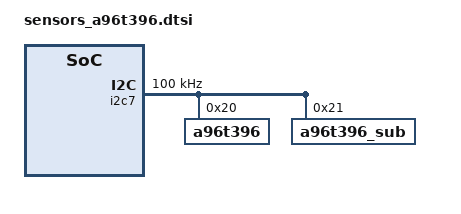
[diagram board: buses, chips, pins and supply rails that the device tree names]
#if 1

&pio {
	grip_i2c_sda: grip-i2c-sda {
		GPIO_CONFIG_PUD_DRV(AP,pio,112, FUNC_INPUT, PULL_UP, DRV_LV1);
	};
	grip_i2c_scl: grip-i2c-scl {
		GPIO_CONFIG_PUD_DRV(AP,pio,111, FUNC_INPUT, PULL_UP, DRV_LV1);
	};
};

&pio {
	grip_int: grip-int {
		GPIO_CONFIG_PUD_DRV(AP,pio,17, FUNC_INPUT_WAKEUP, PULL_NONE, DRV_LV1);
	};
};

&i2c7 {
	gpios = <SEC_GPIO_REF(AP,pio,112) 0 /* sda */
			SEC_GPIO_REF(AP,pio,111) 0>; /* scl */
	pinctrl-0 = <&grip_i2c_sda
				 &grip_i2c_scl
				 >;
	#address-cells = <1>;
	#size-cells = <0>;
	status = "okay";
	clock-frequency = <100000>;
	a96t396: a96t396@20 {
		compatible = "a96t396";
		reg = <0x20>;

		pinctrl-names = "default";
		pinctrl-0 = <&grip_int>;

		interrupt-parent = <SEC_GPIO_TYPE(AP,pio,17)>;
		interrupts = <SEC_GPIO_NUM(AP,pio,17) 0>;

		irq_gpio = <SEC_GPIO_REF(AP,pio,17) 0>;
#if 0
		dvdd_vreg_name = "VDD_GRIP_3P3";
#else
#if 1
		ldo_en = <SEC_GPIO_REF(AP,pio,139) 0>;
#endif
#endif
		multi_use = <1>;
#if 1
		unknown_ch_selection = <3>; /*bit "0 0" => no use , "0 1" => 1ch only, "1 0" => 2ch only, "1 1" 1ch 2ch both*/
#endif
#if 0
		fail_safe_concept = <${a96t396_fail_safe_concept}>;
#endif
		fw_path = "abov/a96t396_a13x_eur_main.bin";
		firmup_cmd = <0x90>;
	};
};
#endif

/* ---- SUB GRIP---- */
#if 1

&pio {
	grip_sub_i2c_sda: grip-sub-i2c-sda {
		GPIO_CONFIG_PUD_DRV(AP,pio,112, FUNC_INPUT, PULL_UP, DRV_LV1);
	};
	grip_sub_i2c_scl: grip-sub-i2c-scl {
		GPIO_CONFIG_PUD_DRV(AP,pio,111, FUNC_INPUT, PULL_UP, DRV_LV1);
	};
};

&pio {
	grip_sub_int: grip-sub-int {
		GPIO_CONFIG_PUD_DRV(AP,pio,18, FUNC_INPUT_WAKEUP, PULL_NONE, DRV_LV1);
	};
};

&i2c7 {
	gpios = <SEC_GPIO_REF(AP,pio,112) 0 /* sda */
			SEC_GPIO_REF(AP,pio,111) 0>; /* scl */
	pinctrl-0 = <&grip_sub_i2c_sda
				 &grip_sub_i2c_scl
				>;
	#address-cells = <1>;
	#size-cells = <0>;
	status = "okay";
	clock-frequency = <100000>;
	a96t396_sub: a96t396_sub@21 {

		compatible = "a96t396_sub";
		reg = <0x21>;

		pinctrl-names = "default";
		pinctrl-0 = <&grip_sub_int>;

		interrupt-parent = <SEC_GPIO_TYPE(AP,pio,18)>;
		interrupts = <SEC_GPIO_NUM(AP,pio,18) 0>;

		irq_gpio = <SEC_GPIO_REF(AP,pio,18) 0>;
#if 0
		dvdd_vreg_name = "VDD_GRIP_3P3";
#else
#if 0
		ldo_en = <SEC_GPIO_REF(${gpio_grip_sub_ldo_en}) 0>;
#else
		ldo_en = <SEC_GPIO_REF(AP,pio,139) 0>;
#endif
#endif
		multi_use = <0>;
#if 1
		unknown_ch_selection = <3>; /*bit "0 0" => no use , "0 1" => 1ch only, "1 0" => 2ch only, "1 1" 1ch 2ch both*/
#endif
#if 0
		fail_safe_concept = <${a96t396_sub_fail_safe_concept}>;
#endif
		fw_path = "abov/a96t396_a13x_eur_sub.bin";
		firmup_cmd = <0x90>;
	};
};
#endif

/* ---- SUB2 GRIP---- */
#if 0
&${gpio_grip_sub2_i2c_parent} {
	grip_sub2_i2c_sda: grip-sub2-i2c-sda {
		GPIO_CONFIG_PUD_DRV(${gpio_grip_sub2_i2c_sda}, FUNC_INPUT, PULL_UP, DRV_LV1);
	};
	grip_sub2_i2c_scl: grip-sub2-i2c-scl {
		GPIO_CONFIG_PUD_DRV(${gpio_grip_sub2_i2c_scl}, FUNC_INPUT, PULL_UP, DRV_LV1);
	};
};

&${gpio_grip_sub2_irq_parent} {
	grip_sub2_int: grip-sub2-int {
		GPIO_CONFIG_PUD_DRV(${gpio_grip_sub2_irq}, FUNC_INPUT_WAKEUP, PULL_NONE, DRV_LV1);
	};
};

&${i2c_grip_sub2} {
	gpios = <SEC_GPIO_REF(${gpio_grip_sub2_i2c_sda}) 0 /* sda */
			SEC_GPIO_REF(${gpio_grip_sub2_i2c_scl}) 0>; /* scl */
	pinctrl-0 = <&grip_sub2_i2c_sda
				 &grip_sub2_i2c_scl
				>;
	#address-cells = <1>;
	#size-cells = <0>;
	status = "okay";
	clock-frequency = <100000>;
	a96t396_sub2: a96t396_sub2@${a96t396_sub2_address} {

		compatible = "a96t396_sub2";
		reg = <0x${a96t396_sub2_address}>;

		pinctrl-names = "default";
		pinctrl-0 = <&grip_sub2_int>;

		interrupt-parent = <SEC_GPIO_TYPE(${gpio_grip_sub2_irq})>;
		interrupts = <SEC_GPIO_NUM(${gpio_grip_sub2_irq}) 0>;

		irq_gpio = <SEC_GPIO_REF(${gpio_grip_sub2_irq}) 0>;
#if 0
		dvdd_vreg_name = "VDD_GRIP_3P3";
#else
#if 0
		ldo_en = <SEC_GPIO_REF(${gpio_grip_sub2_ldo_en}) 0>;
#else
		ldo_en = <SEC_GPIO_REF(AP,pio,139) 0>;
#endif
#endif
		multi_use = <${sub2_multi_use}>;
#if 0
		unknown_ch_selection = <${a96t396_sub2_unknown_ch_sel}>; /*bit "0 0" => no use , "0 1" => 1ch only, "1 0" => 2ch only, "1 1" 1ch 2ch both*/
#endif
#if 0
		fail_safe_concept = <${a96t396_sub2_fail_safe_concept}>;
#endif
		fw_path = "abov/a96t396_a13x_eur_sub2.bin";
		firmup_cmd = <0x90>;
	};
};
#endif

/* ---- WIFI GRIP---- */
#if 0

&${gpio_grip_wifi_i2c_parent} {
	grip_wifi_i2c_sda: grip-wifi-i2c-sda {
		GPIO_CONFIG_PUD_DRV(${gpio_grip_wifi_i2c_sda}, FUNC_INPUT, PULL_UP, DRV_LV1);
	};
	grip_wifi_i2c_scl: grip-wifi-i2c-scl {
		GPIO_CONFIG_PUD_DRV(${gpio_grip_wifi_i2c_scl}, FUNC_INPUT, PULL_UP, DRV_LV1);
	};
};

&${gpio_grip_wifi_irq_parent} {
	grip_wifi_int: grip-wifi-int {
		GPIO_CONFIG_PUD_DRV(${gpio_grip_wifi_irq}, FUNC_INPUT_WAKEUP, PULL_NONE, DRV_LV1);
	};
};

&${i2c_grip_wifi} {
	gpios = <SEC_GPIO_REF(${gpio_grip_wifi_i2c_sda}) 0 /* sda */
			SEC_GPIO_REF(${gpio_grip_wifi_i2c_scl}) 0>; /* scl */
	pinctrl-0 = <&grip_wifi_i2c_sda
				 &grip_wifi_i2c_scl
				>;
	#address-cells = <1>;
	#size-cells = <0>;
	status = "okay";
	clock-frequency = <100000>;
	a96t396_wifi: a96t396_wifi@${a96t396_wifi_address} {

		compatible = "a96t396_wifi";
		reg = <0x${a96t396_wifi_address}>;

		pinctrl-names = "default";
		pinctrl-0 = <&grip_wifi_int>;

		interrupt-parent = <SEC_GPIO_TYPE(${gpio_grip_wifi_irq})>;
		interrupts = <SEC_GPIO_NUM(${gpio_grip_wifi_irq}) 0>;

		irq_gpio = <SEC_GPIO_REF(${gpio_grip_wifi_irq}) 0>;
#if 0
		dvdd_vreg_name = "VDD_GRIP_3P3";
#else
#if 0
		ldo_en = <SEC_GPIO_REF(${gpio_grip_wifi_ldo_en}) 0>;
#else
		ldo_en = <SEC_GPIO_REF(AP,pio,139) 0>;
#endif
#endif
		multi_use = <0>;
#if 0
		unknown_ch_selection = <${a96t396_wifi_unknown_ch_sel}>; /*bit "0 0" => no use , "0 1" => 1ch only, "1 0" => 2ch only, "1 1" 1ch 2ch both*/
#endif
#if 0
		fail_safe_concept = <${a96t396_wifi_fail_safe_concept}>;
#endif
		fw_path = "abov/a96t396_a13x_eur_wifi.bin";
		firmup_cmd = <0x90>;
	};
};
#endif
/* /home/dpi/qb5_8814/workspace/P4_1716/android/kernel/kmodule/sensors/a96t396/dts/a96t396.a13x.dtsi */
&grip_i2c_sda {
	GPIO_CONFIG_PUD_DRV(AP,pio,112, FUNC_INPUT, PULL_UP, DRV_LV1);
};

&grip_i2c_scl {
	GPIO_CONFIG_PUD_DRV(AP,pio,111, FUNC_INPUT, PULL_UP, DRV_LV1);
};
